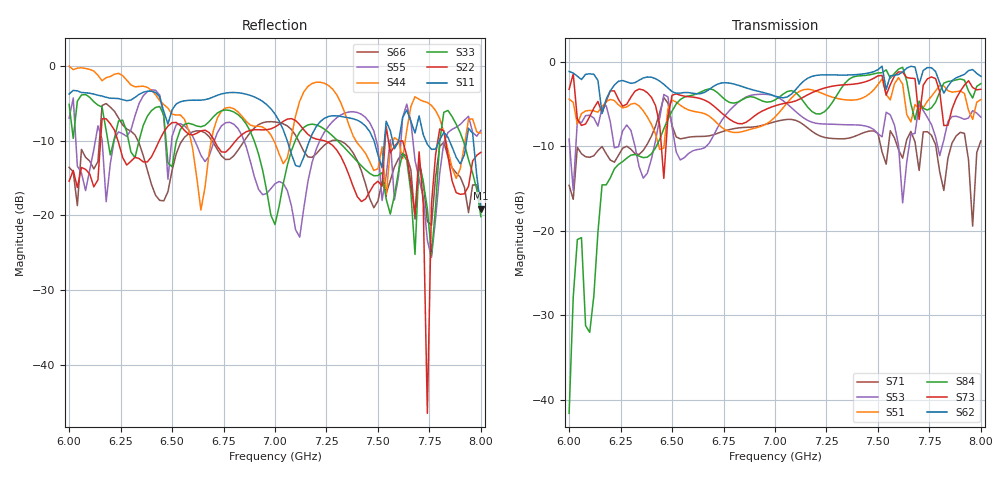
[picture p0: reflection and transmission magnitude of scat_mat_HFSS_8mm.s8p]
! Touchstone file exported from HFSS 2020.1.0
!  File:  D:/Users/rblandin/Documents/Ansoft/scatterer_in_waveguide.aedt
!  Generated:  5:09:48  janv. 16, 2025
!  Design:  HFSSDesign1
!  Project:  scatterer_in_waveguide
!  Setup:  scatmat
!  Solution:  Sweep
! Variables:
!  $height = 8mm
!  $pos_x = 100mm
!  $pos_x_1 = 28.772922mm
!  $pos_x_2 = 55.98679mm
!  $pos_x_3 = 44.27246mm
!  $pos_y = 25mm
!  $pos_y_1 = 43.348048mm
!  $pos_y_2 = 48.8323mm
!  $pos_y_3 = 236.06804mm
!  $radius = 3.1mm
# GHZ S MA R 50.000000
! Terminal data exported
! Port[1] = 1:1
! Port[2] = 1:2
! Port[3] = 1:3
! Port[4] = 1:4
! Port[5] = 2:1
! Port[6] = 2:2
! Port[7] = 2:3
! Port[8] = 2:4
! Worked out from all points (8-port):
!   101 points, 6 GHz to 8 GHz, reference per port
!   strongest paths, dB at 6 GHz, 6.5 GHz, 7 GHz, 7.5 GHz, 8 GHz:
!     S62: -1.1, -3.5, -4.0, -0.9, -1.7
!     S73: -3.2, -3.9, -5.2, -1.6, -3.2
!     S84: -41.6, -5.8, -4.5, -1.3, -2.6
!     S51: -4.4, -4.5, -6.5, -2.7, -4.5
!     S53: -9.1, -7.7, -4.1, -8.5, -6.5
!     S71: -14.6, -7.5, -7.1, -8.5, -9.3
!   lowest |S11| = -19.1 dB at 8 GHz (marker M1), VSWR 1.25
!   |S11| at or under -10 dB: 7.059 GHz to 7.168 GHz (109 MHz wide, 1.53 % of centre); 7.732 GHz to 7.799 GHz (66.84 MHz wide, 0.861 % of centre); 7.847 GHz to 7.931 GHz (84.02 MHz wide, 1.07 % of centre)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
